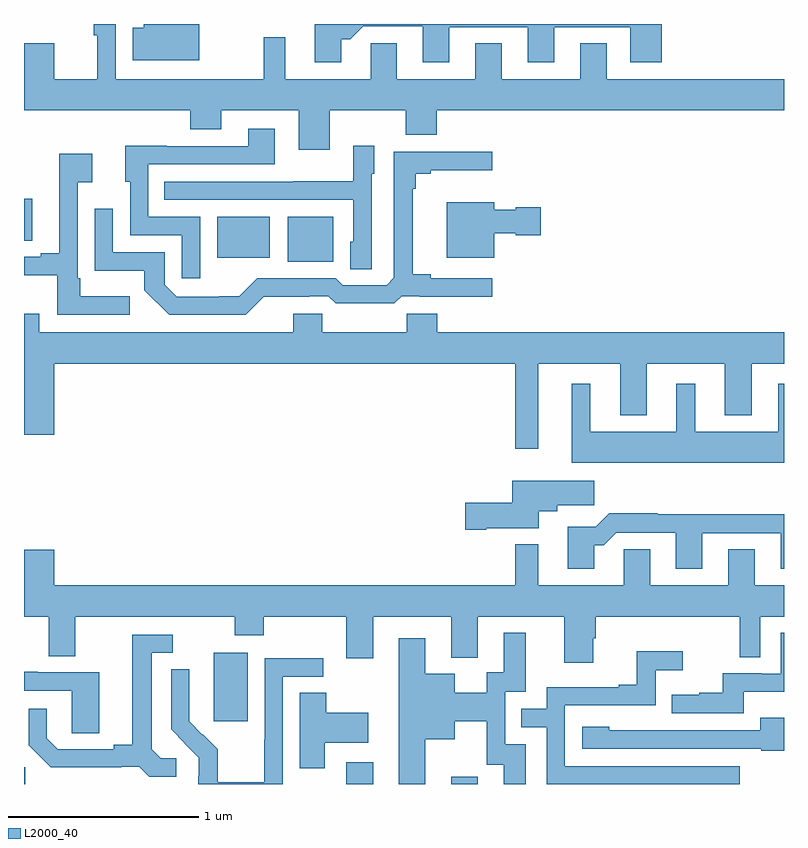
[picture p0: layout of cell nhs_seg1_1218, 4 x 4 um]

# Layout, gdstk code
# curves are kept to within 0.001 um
import gdstk
lib = gdstk.Library(unit=1e-6, precision=1e-09)
def R(c, l, rs):  # rectangles x0, y0, x1, y1
    for r in rs: c.add(gdstk.rectangle(r[:2], r[2:], *l))
def P(c, l, *ps):  # polygons
    for p in ps: c.add(gdstk.Polygon(p, *l))
L2000_40 = (2000, 40)

nhs_seg1_1218 = lib.new_cell('nhs_seg1_1218')
R(nhs_seg1_1218, L2000_40, [(177,536.199,177.007,536.286), (178.697,536.199,178.837,536.314), (179.249,536.199,179.389,536.236), (177.998,536.529,178.177,536.89), (178.388,538.949,178.627,539.185), (178.016,538.97,178.294,539.185), (177,539.059,177.043,539.278)])
P(nhs_seg1_1218, L2000_40, [(178.261,540.13),(178.261,539.908),(177.483,539.908),(177.483,540.199),(177.367,540.199),(177.367,540.14),(177.385,540.14),(177.385,539.908),(177.16,539.908),(177.16,540.097),(177,540.097),(177,539.744),(177.875,539.744),(177.875,539.645),(178.039,539.645),(178.039,539.744),(178.445,539.744),(178.445,539.538),(178.609,539.538),(178.609,539.744),(179.009,539.744),(179.009,539.616),(179.173,539.616),(179.173,539.744),(181,539.744),(181,539.908),(180.067,539.908),(180.067,540.098),(179.927,540.098),(179.927,539.908),(179.515,539.908),(179.515,540.098),(179.375,540.098),(179.375,539.908),(178.963,539.908),(178.963,540.098),(178.824,540.098),(178.824,539.908),(178.375,539.908),(178.375,540.13)],
  [(177.922,540.199),(177.629,540.199),(177.629,540.178),(177.572,540.178),(177.572,540.008),(177.922,540.008)],
  [(178.669,540.119),(178.718,540.119),(178.785,540.186),(179.099,540.186),(179.099,539.997),(179.239,539.997),(179.239,540.183),(179.651,540.183),(179.651,539.997),(179.791,539.997),(179.791,540.183),(180.191,540.183),(180.191,539.997),(180.356,539.997),(180.356,540.199),(178.529,540.199),(178.529,539.997),(178.669,539.997)],
  [(177.927,539.184),(177.654,539.184),(177.654,539.46),(178.321,539.46),(178.321,539.647),(178.181,539.647),(178.181,539.556),(177.751,539.556),(177.751,539.558),(177.533,539.558),(177.533,539.37),(177.558,539.37),(177.558,539.088),(177.831,539.088),(177.831,538.86),(177.927,538.86)],
  [(178.83,539.412),(178.843,539.412),(178.843,539.557),(178.734,539.557),(178.734,539.371),(178.417,539.371),(178.417,539.37),(177.739,539.37),(177.739,539.274),(178.734,539.274),(178.734,539.052),(178.718,539.052),(178.718,538.909),(178.83,538.909)],
  [(178.262,538.763),(178.502,538.763),(178.502,538.767),(178.602,538.767),(178.642,538.728),(178.949,538.728),(178.989,538.767),(179.083,538.767),(179.083,538.763),(179.464,538.763),(179.464,538.86),(179.14,538.86),(179.14,538.883),(179.045,538.883),(179.045,539.333),(179.063,539.333),(179.063,539.41),(179.14,539.41),(179.14,539.429),(179.464,539.429),(179.464,539.526),(178.947,539.526),(178.947,538.863),(178.908,538.824),(178.677,538.824),(178.641,538.86),(178.227,538.86),(178.133,538.766),(178.028,538.766),(178.028,538.764),(177.804,538.764),(177.741,538.827),(177.741,538.998),(177.468,538.998),(177.468,539.227),(177.372,539.227),(177.372,538.901),(177.634,538.901),(177.634,538.799),(177.764,538.668),(178.167,538.668)],
  [(177.556,538.765),(177.295,538.765),(177.295,538.861),(177.282,538.861),(177.282,539.366),(177.358,539.366),(177.358,539.515),(177.185,539.515),(177.185,538.993),(177.089,538.993),(177.089,538.974),(177,538.974),(177,538.877),(177.174,538.877),(177.174,538.668),(177.556,538.668)],
  [(179.476,539.099),(179.589,539.099),(179.589,539.087),(179.719,539.087),(179.719,539.234),(179.589,539.234),(179.589,539.221),(179.476,539.221),(179.476,539.26),(179.225,539.26),(179.225,538.97),(179.476,538.97)],
  [(179.707,538.412),(180.137,538.412),(180.137,538.139),(180.277,538.139),(180.277,538.412),(180.689,538.412),(180.689,538.139),(180.829,538.139),(180.829,538.412),(181,538.412),(181,538.576),(179.174,538.576),(179.174,538.674),(179.014,538.674),(179.014,538.576),(178.569,538.576),(178.569,538.674),(178.418,538.674),(178.418,538.576),(177.079,538.576),(177.079,538.675),(177,538.675),(177,538.038),(177.16,538.038),(177.16,538.412),(179.586,538.412),(179.586,537.963),(179.707,537.963)],
  [(181,538.306),(180.971,538.306),(180.971,538.054),(180.532,538.054),(180.532,538.306),(180.434,538.306),(180.434,538.054),(179.98,538.054),(179.98,538.306),(179.882,538.306),(179.882,537.89),(181,537.89)],
  [(179.434,537.545),(179.71,537.545),(179.71,537.635),(179.806,537.635),(179.806,537.667),(180.001,537.667),(180.001,537.796),(179.57,537.796),(179.57,537.68),(179.322,537.68),(179.322,537.538),(179.434,537.538)],
  [(180.001,537.455),(180.05,537.455),(180.117,537.522),(180.431,537.522),(180.431,537.333),(180.571,537.333),(180.571,537.519),(180.983,537.519),(180.983,537.333),(181,537.333),(181,537.62),(180.335,537.62),(180.335,537.623),(180.08,537.623),(180.01,537.553),(179.861,537.553),(179.861,537.333),(180.001,537.333)],
  [(179.995,536.967),(180.008,536.967),(180.008,537.08),(180.768,537.08),(180.768,536.866),(180.876,536.866),(180.876,537.08),(181,537.08),(181,537.244),(180.847,537.244),(180.847,537.434),(180.707,537.434),(180.707,537.244),(180.295,537.244),(180.295,537.434),(180.156,537.434),(180.156,537.244),(179.707,537.244),(179.707,537.46),(179.586,537.46),(179.586,537.244),(177.16,537.244),(177.16,537.433),(177,537.433),(177,537.08),(177.131,537.08),(177.131,536.872),(177.271,536.872),(177.271,537.08),(178.108,537.08),(178.108,536.981),(178.263,536.981),(178.263,537.08),(178.697,537.08),(178.697,536.862),(178.837,536.862),(178.837,537.08),(179.249,537.08),(179.249,536.864),(179.389,536.864),(179.389,537.08),(179.843,537.08),(179.843,536.838),(179.995,536.838)],
  [(179.113,536.435),(179.266,536.435),(179.266,536.528),(179.436,536.528),(179.436,536.301),(179.525,536.301),(179.525,536.199),(179.641,536.199),(179.641,536.409),(179.532,536.409),(179.532,536.685),(179.641,536.685),(179.641,536.995),(179.525,536.995),(179.525,536.786),(179.435,536.786),(179.435,536.68),(179.266,536.68),(179.266,536.779),(179.113,536.779),(179.113,536.965),(178.973,536.965),(178.973,536.199),(179.113,536.199)],
  [(180.787,536.684),(181,536.684),(181,536.995),(180.984,536.995),(180.984,536.778),(180.884,536.778),(180.884,536.781),(180.677,536.781),(180.677,536.68),(180.553,536.68),(180.553,536.668),(180.409,536.668),(180.409,536.571),(180.787,536.571)],
  [(177.802,536.334),(177.72,536.334),(177.673,536.381),(177.673,536.889),(177.784,536.889),(177.784,536.985),(177.569,536.985),(177.569,536.405),(177.473,536.405),(177.473,536.382),(177.178,536.382),(177.121,536.439),(177.121,536.596),(177.024,536.596),(177.024,536.402),(177.14,536.286),(177.512,536.286),(177.512,536.289),(177.606,536.289),(177.658,536.237),(177.802,536.237)],
  [(180.766,536.292),(179.847,536.292),(179.847,536.613),(180.324,536.613),(180.324,536.798),(180.466,536.798),(180.466,536.897),(180.226,536.897),(180.226,536.722),(180.131,536.722),(180.131,536.709),(179.751,536.709),(179.751,536.595),(179.617,536.595),(179.617,536.499),(179.751,536.499),(179.751,536.199),(180.766,536.199)],
  [(178.362,536.763),(178.576,536.763),(178.576,536.862),(178.266,536.862),(178.266,536.432),(178.264,536.432),(178.264,536.209),(178.019,536.209),(178.019,536.383),(177.942,536.46),(177.939,536.457),(177.869,536.528),(177.87,536.804),(177.774,536.804),(177.774,536.486),(177.92,536.338),(177.92,536.241),(177.918,536.241),(177.918,536.199),(178.362,536.199)],
  [(177.397,536.787),(177.073,536.787),(177.073,536.791),(177,536.791),(177,536.691),(177.252,536.691),(177.252,536.467),(177.397,536.467)],
  [(178.582,536.417),(178.813,536.417),(178.813,536.575),(178.59,536.575),(178.59,536.678),(178.451,536.678),(178.451,536.281),(178.582,536.281)],
  [(181,536.548),(180.875,536.548),(180.875,536.481),(180.317,536.481),(180.317,536.482),(180.081,536.482),(180.081,536.5),(179.937,536.5),(179.937,536.385),(180.879,536.385),(180.879,536.373),(181,536.373)])

lib.write_gds('nhs_seg1_1218.gds')
